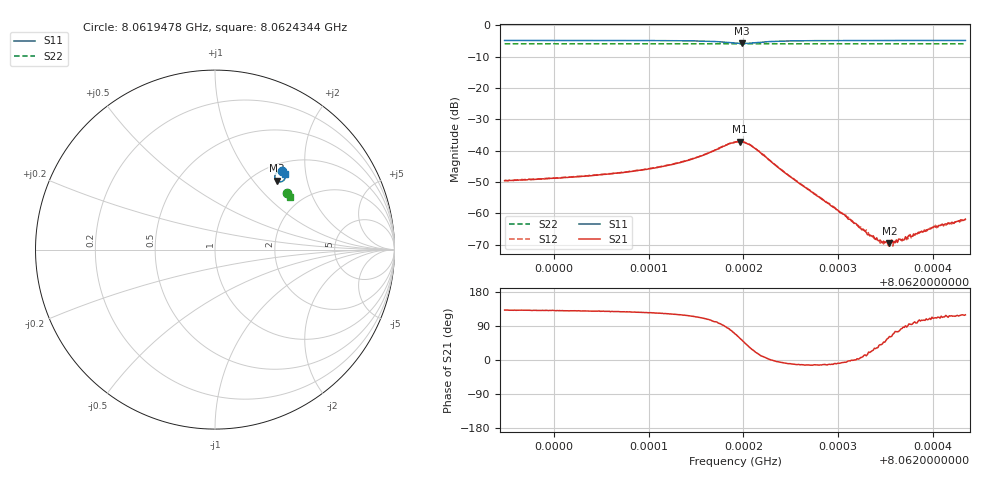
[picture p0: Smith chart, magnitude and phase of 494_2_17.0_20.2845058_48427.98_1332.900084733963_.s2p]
#  HZ  S  RI  R  50.00
! Rohde & Schwarz Vector Network Analyzer
! Rohde-Schwarz,ZNB20-2Port,1311601062101988,3.16
! Created: UTC 3/20/2024, 11:14:13 PM
! freq[Hz]  re:S11  im:S11  re:S21  im:S21  re:S12  im:S12  re:S22  im:S22
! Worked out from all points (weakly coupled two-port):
!   401 points, 8.0619478 GHz to 8.0624344 GHz, reference 50 ohm
!   highest |S21| = -37.13 dB at 8.0621959 GHz (marker M1); lowest = -69.6 dB at 8.0623541 GHz (marker M2)
!   lowest |S11| = -5.8 dB at 8.0621984 GHz (marker M3), VSWR 3.13, Z = 63.7 + j66.5 ohm
!   |S11| at or under -10 dB: nowhere
!   |S22| runs from -5.9 to -5.8 dB; largest |S21 - S12| = 0.00098
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8.06194776e9  0.3735 0.4386  -0.00222 0.00248  -0.00206 0.00263  0.402 0.3144
8.06202927e9  0.3798 0.4326  -0.00246 0.00301  -0.0023 0.00317  0.4051 0.3104
8.06207672e9  0.3841 0.4277  -0.00278 0.00364  -0.00255 0.00381  0.4069 0.3077
8.06211078e9  0.3877 0.4222  -0.00304 0.00457  -0.00279 0.00479  0.408 0.3058
8.06214971e9  0.3916 0.4094  -0.00309 0.00705  -0.00272 0.00729  0.4093 0.3032
8.06219107e9  0.3614 0.3772  0.00496 0.0128  0.00555 0.0126  0.409 0.3006
8.06219594e9  0.3499 0.38  0.00738 0.0118  0.00804 0.0115  0.4085 0.3005
8.06219837e9  0.3444 0.3834  0.00836 0.011  0.00913 0.0105  0.4084 0.3006
8.06221054e9  0.3335 0.4094  0.0102 0.00486  0.0107 0.00414  0.4087 0.3012
8.06224217e9  0.3577 0.4352  0.00461 -0.000598  0.00463 -0.000894  0.4114 0.3006
8.06227258e9  0.3707 0.4348  0.00211 -0.000516  0.00207 -0.000618  0.4128 0.299
8.06230665e9  0.378 0.432  0.000949 -9.82e-05  0.000943 -0.000161  0.4143 0.2971
8.06233341e9  0.3818 0.4299  0.000419 0.00015  0.000424 0.000101  0.4152 0.2956
8.06234436e9  0.3831 0.4291  0.000286 0.000244  0.000273 0.000194  0.4157 0.295
8.0623541e9  0.3842 0.4284  0.000156 0.000292  0.000159 0.000254  0.416 0.2946
8.06235531e9  0.3843 0.4283  0.000169 0.000308  0.000154 0.000279  0.416 0.2945
8.06236139e9  0.385 0.4278  9.75e-05 0.000363  0.000118 0.00035  0.4163 0.2943
8.06236991e9  0.3857 0.4273  2.67e-05 0.000378  5.36e-05 0.00041  0.4167 0.2938
8.06237599e9  0.3863 0.4269  -3.35e-05 0.000436  5.28e-06 0.000459  0.4168 0.2936
8.06238816e9  0.3874 0.426  -0.000134 0.000498  -6.62e-05 0.000512  0.4172 0.2928
8.06239789e9  0.3883 0.4255  -0.000168 0.000551  -0.000174 0.000541  0.4175 0.2923
8.06243439e9  0.3911 0.423  -0.000395 0.000707  -0.00035 0.000688  0.4189 0.2904
